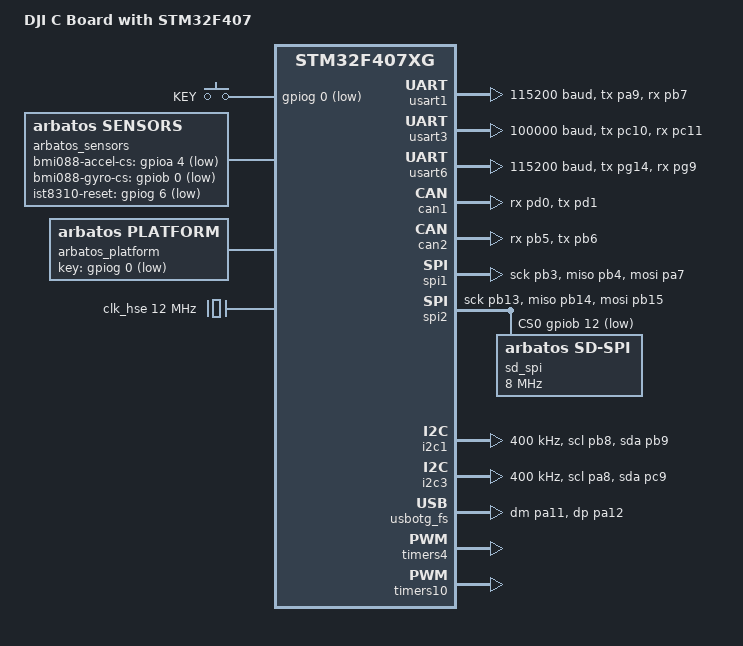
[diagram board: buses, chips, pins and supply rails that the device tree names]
/* SPDX-License-Identifier: Apache-2.0 */

/dts-v1/;
#include <st/f4/stm32f407Xg.dtsi>
#include "dji_c_f407-pinctrl.dtsi"
#include <zephyr/dt-bindings/input/input-event-codes.h>
#include <zephyr/dt-bindings/pwm/pwm.h>

/ {
	model = "DJI C Board with STM32F407";
	compatible = "arbatos,dji-c-f407";

	chosen {
		zephyr,console = &usart1;
		zephyr,shell-uart = &usart1;
		zephyr,sram = &sram0;
		zephyr,flash = &flash0;
		zephyr,dtcm = &ccm0;
		zephyr,canbus = &can1;
	};

	aliases {
		sw0 = &user_key;
		can-primary = &can1;
		can-secondary = &can2;
		uart-rc = &usart3;
		uart-aux = &usart1;
		uart-referee = &usart6;
		sd-spi = &sd_spi;
	};

	keys {
		compatible = "gpio-keys";
		user_key: key_0 {
			label = "KEY";
			gpios = <&gpiog 0 GPIO_ACTIVE_LOW>;
			zephyr,code = <INPUT_KEY_0>;
		};
	};

	arbatos_sensors {
		compatible = "arbatos,sensors";
		bmi088-spi = <&spi1>;
		bmi088-accel-cs-gpios = <&gpioa 4 GPIO_ACTIVE_LOW>;
		bmi088-gyro-cs-gpios = <&gpiob 0 GPIO_ACTIVE_LOW>;
		bmi088-spi-hz = <8000000>;
		ist8310-i2c = <&i2c3>;
		ist8310-reset-gpios = <&gpiog 6 GPIO_ACTIVE_LOW>;
		imu-heater-pwms = <&pwm10 1 PWM_USEC(1000) PWM_POLARITY_NORMAL>;
		imu-heater-period-cycles = <5000>;
	};

	arbatos_platform: arbatos-platform {
		compatible = "arbatos,platform";
		key-gpios = <&gpiog 0 GPIO_ACTIVE_LOW>;
		buzzer-pwms = <&pwm4 3 PWM_USEC(100) PWM_POLARITY_NORMAL>;
	};
};

&clk_lsi { status = "okay"; };
&clk_lse { status = "okay"; };
&clk_hse { clock-frequency = <DT_FREQ_M(12)>; status = "okay"; };

&pll {
	div-m = <12>;
	mul-n = <336>;
	div-p = <2>;
	div-q = <7>;
	clocks = <&clk_hse>;
	status = "okay";
};

&rcc {
	clocks = <&pll>;
	clock-frequency = <DT_FREQ_M(168)>;
	ahb-prescaler = <1>;
	apb1-prescaler = <4>;
	apb2-prescaler = <2>;
};

&usart1 { pinctrl-0 = <&usart1_tx_pa9 &usart1_rx_pb7>; pinctrl-names = "default"; current-speed = <115200>; status = "okay"; };
&usart3 { pinctrl-0 = <&usart3_tx_pc10 &usart3_rx_pc11>; pinctrl-names = "default"; current-speed = <100000>; status = "okay"; };
&usart6 { pinctrl-0 = <&usart6_tx_pg14 &usart6_rx_pg9>; pinctrl-names = "default"; current-speed = <115200>; status = "okay"; };
&can1 { pinctrl-0 = <&can1_rx_pd0 &can1_tx_pd1>; pinctrl-names = "default"; status = "okay"; };
&can2 { pinctrl-0 = <&can2_rx_pb5 &can2_tx_pb6>; pinctrl-names = "default"; status = "okay"; };
&spi1 { pinctrl-0 = <&spi1_sck_pb3 &spi1_miso_pb4 &spi1_mosi_pa7>; pinctrl-names = "default"; status = "okay"; };
&spi2 {
	pinctrl-0 = <&spi2_sck_pb13 &spi2_miso_pb14 &spi2_mosi_pb15>;
	pinctrl-names = "default";
	cs-gpios = <&gpiob 12 GPIO_ACTIVE_LOW>;
	status = "okay";

	sd_spi: sd-card@0 {
		compatible = "arbatos,sd-spi";
		reg = <0>;
		spi-max-frequency = <8000000>;
	};
};
&i2c1 { pinctrl-0 = <&i2c1_scl_pb8 &i2c1_sda_pb9>; pinctrl-names = "default"; clock-frequency = <I2C_BITRATE_FAST>; status = "okay"; };
&i2c3 { pinctrl-0 = <&i2c3_scl_pa8 &i2c3_sda_pc9>; pinctrl-names = "default"; clock-frequency = <I2C_BITRATE_FAST>; status = "okay"; };

zephyr_udc0: &usbotg_fs {
	pinctrl-0 = <&usb_otg_fs_dm_pa11 &usb_otg_fs_dp_pa12>;
	pinctrl-names = "default";
	status = "okay";

	cdc_acm_uart0: cdc_acm_uart0 {
		compatible = "zephyr,cdc-acm-uart";
	};
};

&timers4 {
	status = "okay";
	pwm4: pwm { status = "okay"; pinctrl-0 = <&tim4_ch3_pd14>; pinctrl-names = "default"; };
};

&timers10 {
	status = "okay";
	pwm10: pwm { status = "okay"; pinctrl-0 = <&tim10_ch1_pf6>; pinctrl-names = "default"; };
};
